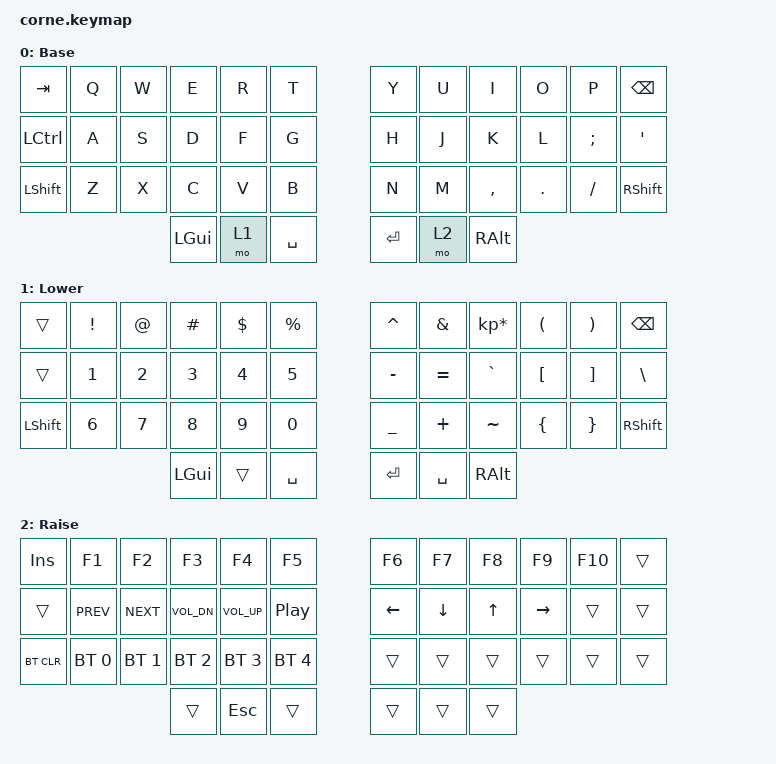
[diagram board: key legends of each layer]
/*
 * Copyright (c) 2020 The ZMK Contributors
 *
 * SPDX-License-Identifier: MIT
 */

#include <behaviors.dtsi>
#include <dt-bindings/zmk/keys.h>
#include <dt-bindings/zmk/bt.h>

/ {
        keymap {
                compatible = "zmk,keymap";

                default_layer {
// -----------------------------------------------------------------------------------------
// |  TAB |  Q  |  W  |  E  |  R  |  T  |   |  Y  |  U   |  I  |  O  |  P  | BKSP |
// | CTRL |  A  |  S  |  D  |  F  |  G  |   |  H  |  J   |  K  |  L  |  ;  |  '   |
// | SHFT |  Z  |  X  |  C  |  V  |  B  |   |  N  |  M   |  ,  |  .  |  /  |  RSHFT  |
//                    | GUI | LWR | SPC |   | ENT | RSE  | ALT |
                        label = "Base";
                        bindings = <
   &kp TAB   &kp Q &kp W &kp E &kp R &kp T   &kp Y &kp U  &kp I     &kp O   &kp P    &kp BSPC
   &kp LCTRL &kp A &kp S &kp D &kp F &kp G   &kp H &kp J  &kp K     &kp L   &kp SEMI &kp SQT
   &kp LSHFT &kp Z &kp X &kp C &kp V &kp B   &kp N &kp M  &kp COMMA &kp DOT &kp FSLH &kp RSHFT
                  &kp LGUI &mo 1 &kp SPACE   &kp RET &mo 2 &kp RALT
                        >;
                };
                lower_layer {
// -----------------------------------------------------------------------------------------
// |      |  !  |  @  |  #  |  $  |    %     |   |  ^  |  &  |  *  |  (  |  )  |       |
// |      |  1  |  2  |  3  |  4  |    5     |   |  -  |  =  |  `  |  [  |  ]  |  "|"  |
// | SHFT |  6  |  7  |  8  |  9  |    0     |   |  _  |  +  |  ~  |  {  |  }  | RSHFT |
//                    | GUI |     | SPC |   | ENT |  SPACE   | ALT |
                        label = "Lower";
                        bindings = <
      &trans    &kp EXCL &kp AT &kp HASH &kp DLLR &kp PRCNT   &kp CARET  &kp AMPS  &kp KP_MULTIPLY &kp LPAR &kp RPAR &kp BSPC
   &trans    &kp N1   &kp N2 &kp N3   &kp N4   &kp N5      &kp MINUS  &kp EQUAL &kp GRAVE       &kp LBKT &kp RBKT &kp BSLH
   &kp LSHFT &kp N6   &kp N7 &kp N8   &kp N9   &kp N0      &kp UNDER  &kp PLUS  &kp TILDE       &kp LBRC &kp RBRC &kp RSHFT
                          	        &kp LGUI     &trans       &kp SPACE      &kp RET  &kp SPACE   &kp RALT
                        >;
                };

                raise_layer {
// -----------------------------------------------------------------------------------------
// |  INS  |  F1  |  F2  |  F3  |  F4  |  F5 |            |  F6  |  F7  |  F8  |  F9  |  F10  |   |
// |       | Prev | Next | Vol - | Vol + | Play/Pause |   |      | LFT | DWN |  UP | RGT |     |     |
// | BTCLR | BT1 | BT2 | BT3 | BT4 | BT5 |   |            |     |     |     |     |     |     |
//                    |     |  ESC   |    |                  |     |     |     |
                        label = "Raise";
                        bindings = <
   &kp INS     &kp F1        &kp F2       &kp F3       &kp F4       &kp F5          &kp F6   &kp F7   &kp F8 &kp F9    &kp F10 &trans
   &trans     &kp C_PREV    &kp C_NEXT   &kp C_VOL_DN &kp C_VOL_UP &kp C_PP        &kp LEFT &kp DOWN &kp UP &kp RIGHT &trans &trans
   &bt BT_CLR &bt BT_SEL 0  &bt BT_SEL 1 &bt BT_SEL 2 &bt BT_SEL 3 &bt BT_SEL 4    &trans   &trans   &trans &trans    &trans &trans
                          	                        &trans   &kp ESC   &trans       &trans   &trans   &trans
                        >;
                };
        };
};
